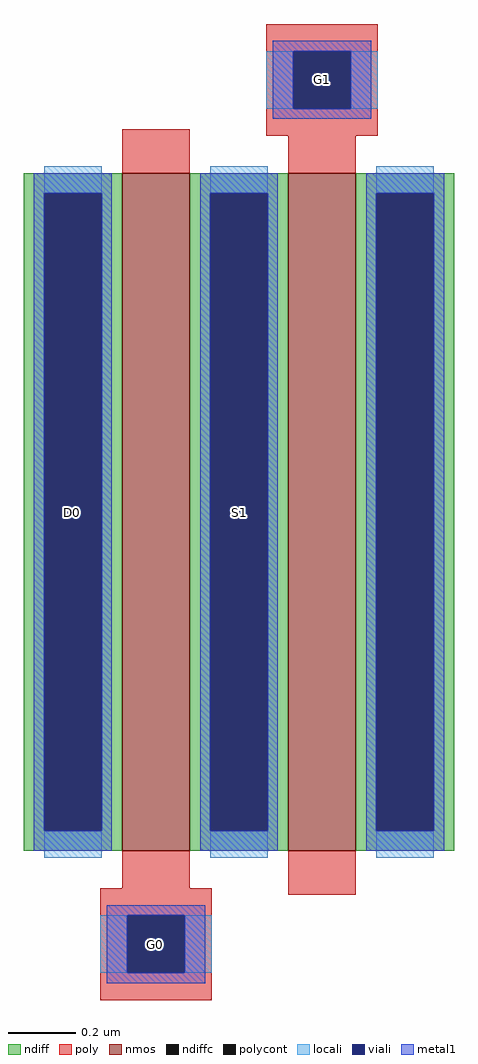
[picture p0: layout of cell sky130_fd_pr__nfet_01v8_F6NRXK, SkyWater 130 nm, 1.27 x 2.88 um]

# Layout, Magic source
magic
tech sky130A
magscale 1 2
<< nmos >>
rect -69 -200 -29 200
rect 29 -200 69 200
<< ndiff >>
rect -127 188 -69 200
rect -127 -188 -115 188
rect -81 -188 -69 188
rect -127 -200 -69 -188
rect -29 188 29 200
rect -29 -188 -17 188
rect 17 -188 29 188
rect -29 -200 29 -188
rect 69 188 127 200
rect 69 -188 81 188
rect 115 -188 127 188
rect 69 -200 127 -188
<< ndiffc >>
rect -115 -188 -81 188
rect -17 -188 17 188
rect 81 -188 115 188
<< poly >>
rect 16 272 82 288
rect 16 238 32 272
rect 66 238 82 272
rect -69 200 -29 226
rect 16 222 82 238
rect 29 200 69 222
rect -69 -222 -29 -200
rect -82 -238 -16 -222
rect 29 -226 69 -200
rect -82 -272 -66 -238
rect -32 -272 -16 -238
rect -82 -288 -16 -272
<< polycont >>
rect 32 238 66 272
rect -66 -272 -32 -238
<< locali >>
rect 16 238 32 272
rect 66 238 82 272
rect -115 188 -81 204
rect -115 -204 -81 -188
rect -17 188 17 204
rect -17 -204 17 -188
rect 81 188 115 204
rect 81 -204 115 -188
rect -82 -272 -66 -238
rect -32 -272 -16 -238
<< viali >>
rect 32 238 66 272
rect -115 -188 -81 188
rect -17 -188 17 188
rect 81 -188 115 188
rect -66 -272 -32 -238
<< metal1 >>
rect 20 272 78 278
rect 20 238 32 272
rect 66 238 78 272
rect 20 232 78 238
rect -121 188 -75 200
rect -121 -188 -115 188
rect -81 -188 -75 188
rect -121 -200 -75 -188
rect -23 188 23 200
rect -23 -188 -17 188
rect 17 -188 23 188
rect -23 -200 23 -188
rect 75 188 121 200
rect 75 -188 81 188
rect 115 -188 121 188
rect 75 -200 121 -188
rect -78 -238 -20 -232
rect -78 -272 -66 -238
rect -32 -272 -20 -238
rect -78 -278 -20 -272
<< labels >>
rlabel ndiffc -98 0 -98 0 0 D0
port 1 nsew
rlabel polycont -49 -255 -49 -255 0 G0
port 2 nsew
rlabel ndiffc 0 0 0 0 0 S1
port 3 nsew
rlabel polycont 49 255 49 255 0 G1
port 4 nsew
<< properties >>
string gencell sky130_fd_pr__nfet_01v8
string library sky130
string parameters w 2 l 0.2 m 1 nf 2 diffcov 100 polycov 100 guard 0 glc 1 grc 1 gtc 1 gbc 1 tbcov 100 rlcov 100 topc 1 botc 1 poverlap 0 doverlap 1 lmin 0.15 wmin 0.42 class mosfet compatible {sky130_fd_pr__nfet_01v8 sky130_fd_pr__nfet_01v8_lvt  sky130_fd_bs_flash__special_sonosfet_star  sky130_fd_pr__nfet_g5v0d10v5 sky130_fd_pr__nfet_05v0_nvt  sky130_fd_pr__nfet_03v3_nvt} full_metal 0 conn_gates 0 viasrc 100 viadrn 100 viagate 100 viagb 0 viagr 0 viagl 0 viagt 0 doports 1
<< end >>
